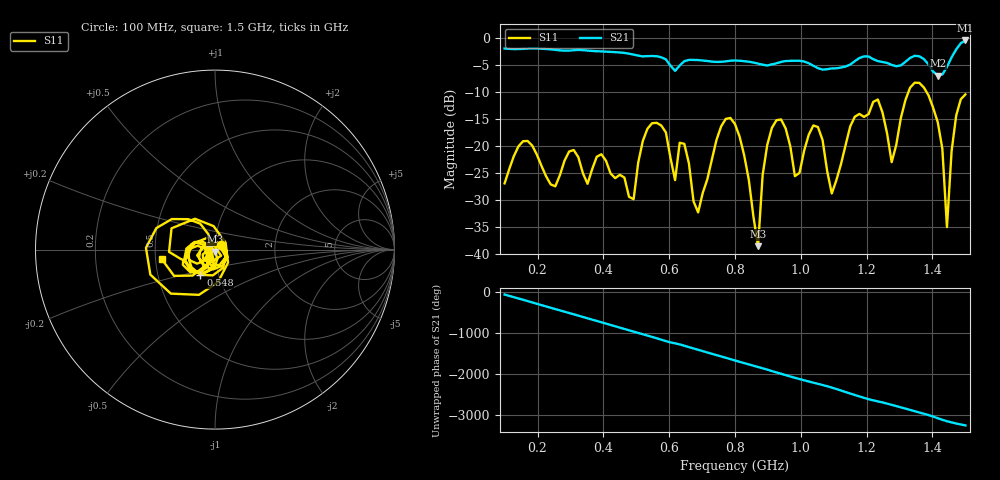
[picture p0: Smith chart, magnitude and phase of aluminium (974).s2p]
! NanoVNA-App
! Date: 2025-09-25 15:02:52
! Start: 100MHz Stop: 1,5GHz Points: 101
! S-Parameter data: F S11 S21 S12 S22
# Hz S RI R 50
!  Frequency  S11_Real  S11_Imag  S21_Real  S21_Imag  S12_Real  S12_Imag  S22_Real  S22_Imag
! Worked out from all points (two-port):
!   101 points, 100 MHz to 1.5 GHz, reference 50 ohm
!   highest |S21| = -0.42 dB at 1.5 GHz (marker M1); lowest = -6.9 dB at 1.416 GHz (marker M2)
!   |S21| within 3 dB of the highest: start of sweep to 567.3 MHz; 1.459 GHz to end of sweep (the widest 2 of 4)
!   lowest |S11| = -38.6 dB at 870 MHz (marker M3), VSWR 1.02, Z = 50.2 - j1.15 ohm
!   |S11| at or under -10 dB: start of sweep to 1.327 GHz; 1.382 GHz to end of sweep
!   S12 and S22 are empty: the file has one direction only
!   S11 on the Smith chart (normalised r, x): 100 MHz: 1.07, +0.06; 548 MHz: 0.82, -0.24; 1.5 GHz: 0.54, -0.07
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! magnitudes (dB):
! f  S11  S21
! 100 MHz  -27.0  -1.9
! 156 MHz  -19.1  -2.0
! 338 MHz  -25.1  -2.2
! 492 MHz  -29.9  -3.1
! 548 MHz  -15.8  -3.3
! 576 MHz  -16.2  -3.6
! 618 MHz  -26.3  -6.1
! 646 MHz  -19.6  -4.3
! 688 MHz  -32.3  -4.1
! 800 MHz  -16.0  -4.1
! 870 MHz  -38.6  -4.7
! 912 MHz  -16.7  -4.9
! 982 MHz  -25.6  -4.2
! 1.038 GHz  -16.2  -5.1
! 1.094 GHz  -28.8  -5.6
! 1.22 GHz  -11.8  -3.9
! 1.276 GHz  -23.0  -5.0
! 1.346 GHz  -8.3  -3.3
! 1.416 GHz  -15.6  -6.9
! 1.444 GHz  -35.1  -5.3
! 1.472 GHz  -14.4  -2.1
! 1.5 GHz  -10.4  -0.4
